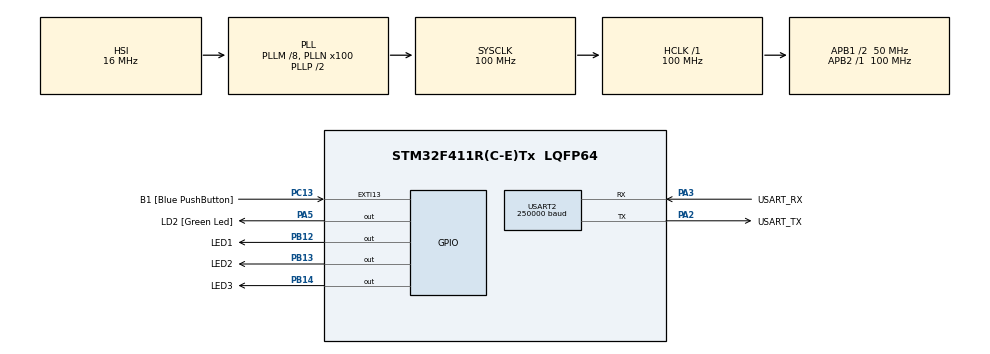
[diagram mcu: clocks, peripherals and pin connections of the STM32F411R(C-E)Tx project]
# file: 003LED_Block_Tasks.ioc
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Mcu.Family=STM32F4
Mcu.Name=STM32F411R(C-E)Tx
Mcu.Package=LQFP64
NVIC.PriorityGroup=NVIC_PRIORITYGROUP_4
NVIC.TIM5_IRQn=true\:0\:0\:false\:false\:true\:false\:true
NVIC.TimeBase=TIM5_IRQn
NVIC.TimeBaseIP=TIM5
PA13.GPIO_Label=TMS
PA13.Signal=SYS_JTMS-SWDIO
PA14.GPIO_Label=TCK
PA14.Signal=SYS_JTCK-SWCLK
PA2.GPIO_Label=USART_TX
PA2.Mode=Asynchronous
PA2.Signal=USART2_TX
PA3.GPIO_Label=USART_RX
PA3.Mode=Asynchronous
PA3.Signal=USART2_RX
PA5.GPIO_Label=LD2 [Green Led]
PA5.Signal=GPIO_Output
PB12.GPIO_Label=LED1
PB12.Signal=GPIO_Output
PB13.GPIO_Label=LED2
PB13.Signal=GPIO_Output
PB14.GPIO_Label=LED3
PB14.Signal=GPIO_Output
PB3.GPIO_Label=SWO
PB3.Signal=SYS_JTDO-SWO
PC13-ANTI_TAMP.GPIO_Label=B1 [Blue PushButton]
PC13-ANTI_TAMP.GPIO_ModeDefaultEXTI=GPIO_MODE_IT_FALLING
PC13-ANTI_TAMP.Signal=GPXTI13
PC14-OSC32_IN.Signal=RCC_OSC32_IN
PC15-OSC32_OUT.Signal=RCC_OSC32_OUT
PH0\ -\ OSC_IN.Signal=RCC_OSC_IN
PH1\ -\ OSC_OUT.Signal=RCC_OSC_OUT
ProjectManager.HeapSize=0x200
ProjectManager.StackSize=0x400
ProjectManager.TargetToolchain=STM32CubeIDE
RCC.48MHZClocksFreq_Value=50000000
RCC.AHBFreq_Value=100000000
RCC.APB1CLKDivider=RCC_HCLK_DIV2
RCC.APB1Freq_Value=50000000
RCC.APB1TimFreq_Value=100000000
RCC.APB2Freq_Value=100000000
RCC.APB2TimFreq_Value=100000000
RCC.CortexFreq_Value=100000000
RCC.FLatency-AdvancedSettings=FLASH_LATENCY_3
RCC.HCLKFreq_Value=100000000
RCC.HSE_VALUE=8000000
RCC.HSI_VALUE=16000000
RCC.LSE_VALUE=32768
RCC.PLLM=8
RCC.PLLN=100
RCC.SYSCLKFreq_VALUE=100000000
RCC.SYSCLKSource=RCC_SYSCLKSOURCE_PLLCLK
RCC.VCOOutputFreq_Value=200000000
USART2.BaudRate=250000
USART2.Parity=PARITY_EVEN
USART2.VirtualMode=VM_ASYNC
VP_SYS_VS_tim5.Mode=TIM5
board=NUCLEO-F411RE

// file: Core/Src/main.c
/* USER CODE BEGIN Header */
/**
  ******************************************************************************
  * @file           : main.c
  * @brief          : Main program body
  ******************************************************************************
  * @attention
  *
  * <h2><center>&copy; Copyright (c) 2022 STMicroelectronics.
  * All rights reserved.</center></h2>
  *
  * This software component is licensed by ST under BSD 3-Clause license,
  * the "License"; You may not use this file except in compliance with the
  * License. You may obtain a copy of the License at:
  *                        opensource.org/licenses/BSD-3-Clause
  *
  ******************************************************************************
  */
/* USER CODE END Header */
#include "main.h"

/* USER CODE BEGIN Includes */
#include "FreeRTOS.h"
#include "task.h"

/* USER CODE END Includes */

UART_HandleTypeDef huart2;

/* USER CODE BEGIN PV */

#define DWT_CTRL	(*(volatile uint32_t*)0xE0001000)

/* USER CODE END PV */

void SystemClock_Config(void);
static void MX_GPIO_Init(void);
static void MX_USART2_UART_Init(void);
/* USER CODE BEGIN PFP */

static void led1_handler(void* parameters);
static void led2_handler(void* parameters);
static void led3_handler(void* parameters);

extern void SEGGER_UART_init(uint32_t);

/* USER CODE END PFP */

int main(void)
{
  /* USER CODE BEGIN 1 */
	TaskHandle_t task1_handle;
	TaskHandle_t task2_handle;
	TaskHandle_t task3_handle;
	BaseType_t status;

  /* USER CODE END 1 */

  /* MCU Configuration--------------------------------------------------------*/

  /* Reset of all peripherals, Initializes the Flash interface and the Systick. */
  HAL_Init();

  /* Configure the system clock */
  SystemClock_Config();

  /* Initialize all configured peripherals */
  MX_GPIO_Init();
  MX_USART2_UART_Init();
  /* USER CODE BEGIN 2 */

  //SEGGER_UART_init(250000);

  //Cycle count enable
    DWT_CTRL |= (1 << 0);

	SEGGER_SYSVIEW_Conf();
	SEGGER_SYSVIEW_Start();

	status = xTaskCreate(led1_handler, "LED_1_task", 200, NULL, 2, &task1_handle);

	configASSERT(status == pdPASS);

	status = xTaskCreate(led2_handler, "LED_2_task", 200, NULL, 2, &task2_handle);

	configASSERT(status == pdPASS);

	status = xTaskCreate(led3_handler, "LED_3_task", 200, NULL, 2, &task3_handle);

	configASSERT(status == pdPASS);

	//start the freeRTOS scheduler
	 vTaskStartScheduler();

  /* USER CODE END 2 */

  /* Infinite loop */
  while (1)
  {

  }
}

void SystemClock_Config(void)
{
  RCC_OscInitTypeDef RCC_OscInitStruct = {0};
  RCC_ClkInitTypeDef RCC_ClkInitStruct = {0};

  /** Configure the main internal regulator output voltage
  */
  __HAL_RCC_PWR_CLK_ENABLE();
  __HAL_PWR_VOLTAGESCALING_CONFIG(PWR_REGULATOR_VOLTAGE_SCALE1);
  /** Initializes the RCC Oscillators according to the specified parameters
  * in the RCC_OscInitTypeDef structure.
  */
  RCC_OscInitStruct.OscillatorType = RCC_OSCILLATORTYPE_HSI;
  RCC_OscInitStruct.HSIState = RCC_HSI_ON;
  RCC_OscInitStruct.HSICalibrationValue = RCC_HSICALIBRATION_DEFAULT;
  RCC_OscInitStruct.PLL.PLLState = RCC_PLL_ON;
  RCC_OscInitStruct.PLL.PLLSource = RCC_PLLSOURCE_HSI;
  RCC_OscInitStruct.PLL.PLLM = 8;
  RCC_OscInitStruct.PLL.PLLN = 100;
  RCC_OscInitStruct.PLL.PLLP = RCC_PLLP_DIV2;
  RCC_OscInitStruct.PLL.PLLQ = 4;
  if (HAL_RCC_OscConfig(&RCC_OscInitStruct) != HAL_OK)
  {
    Error_Handler();
  }
  /** Initializes the CPU, AHB and APB buses clocks
  */
  RCC_ClkInitStruct.ClockType = RCC_CLOCKTYPE_HCLK|RCC_CLOCKTYPE_SYSCLK
                              |RCC_CLOCKTYPE_PCLK1|RCC_CLOCKTYPE_PCLK2;
  RCC_ClkInitStruct.SYSCLKSource = RCC_SYSCLKSOURCE_PLLCLK;
  RCC_ClkInitStruct.AHBCLKDivider = RCC_SYSCLK_DIV1;
  RCC_ClkInitStruct.APB1CLKDivider = RCC_HCLK_DIV2;
  RCC_ClkInitStruct.APB2CLKDivider = RCC_HCLK_DIV1;

  if (HAL_RCC_ClockConfig(&RCC_ClkInitStruct, FLASH_LATENCY_3) != HAL_OK)
  {
    Error_Handler();
  }
}

static void MX_USART2_UART_Init(void)
{

  huart2.Instance = USART2;
  huart2.Init.BaudRate = 250000;
  huart2.Init.WordLength = UART_WORDLENGTH_8B;
  huart2.Init.StopBits = UART_STOPBITS_1;
  huart2.Init.Parity = UART_PARITY_EVEN;
  huart2.Init.Mode = UART_MODE_TX_RX;
  huart2.Init.HwFlowCtl = UART_HWCONTROL_NONE;
  huart2.Init.OverSampling = UART_OVERSAMPLING_16;
  if (HAL_UART_Init(&huart2) != HAL_OK)
  {
    Error_Handler();
  }

}

static void MX_GPIO_Init(void)
{
  GPIO_InitTypeDef GPIO_InitStruct = {0};

  /* GPIO Ports Clock Enable */
  __HAL_RCC_GPIOC_CLK_ENABLE();
  __HAL_RCC_GPIOH_CLK_ENABLE();
  __HAL_RCC_GPIOA_CLK_ENABLE();
  __HAL_RCC_GPIOB_CLK_ENABLE();

  /*Configure GPIO pin Output Level */
  HAL_GPIO_WritePin(LD2_GPIO_Port, LD2_Pin, GPIO_PIN_RESET);

  /*Configure GPIO pin Output Level */
  HAL_GPIO_WritePin(GPIOB, LED1_Pin|LED2_Pin|LED3_Pin, GPIO_PIN_RESET);

  /*Configure GPIO pin : B1_Pin */
  GPIO_InitStruct.Pin = B1_Pin;
  GPIO_InitStruct.Mode = GPIO_MODE_IT_FALLING;
  GPIO_InitStruct.Pull = GPIO_NOPULL;
  HAL_GPIO_Init(B1_GPIO_Port, &GPIO_InitStruct);

  /*Configure GPIO pin : LD2_Pin */
  GPIO_InitStruct.Pin = LD2_Pin;
  GPIO_InitStruct.Mode = GPIO_MODE_OUTPUT_PP;
  GPIO_InitStruct.Pull = GPIO_NOPULL;
  GPIO_InitStruct.Speed = GPIO_SPEED_FREQ_LOW;
  HAL_GPIO_Init(LD2_GPIO_Port, &GPIO_InitStruct);

  /*Configure GPIO pins : LED1_Pin LED2_Pin LED3_Pin */
  GPIO_InitStruct.Pin = LED1_Pin|LED2_Pin|LED3_Pin;
  GPIO_InitStruct.Mode = GPIO_MODE_OUTPUT_PP;
  GPIO_InitStruct.Pull = GPIO_NOPULL;
  GPIO_InitStruct.Speed = GPIO_SPEED_FREQ_LOW;
  HAL_GPIO_Init(GPIOB, &GPIO_InitStruct);

}

/* USER CODE BEGIN 4 */

static void led1_handler(void* parameters)
{
	while(1)
	{
		SEGGER_SYSVIEW_PrintfTarget("Toggling LED1");
		HAL_GPIO_TogglePin(GPIOB, LED1_Pin);
		vTaskDelay(pdMS_TO_TICKS(1000));
	}
}

static void led2_handler(void* parameters)
{
	while(1)
	{
		SEGGER_SYSVIEW_PrintfTarget("Toggling LED2");
		HAL_GPIO_TogglePin(GPIOB, LED2_Pin);
		vTaskDelay(pdMS_TO_TICKS(800));
	}

}

static void led3_handler(void* parameters)
{
	while(1)
	{
		SEGGER_SYSVIEW_PrintfTarget("Toggling LED3");
		HAL_GPIO_TogglePin(GPIOB, LED3_Pin);
		vTaskDelay(pdMS_TO_TICKS(400));
	}

}

void vApplicationIdleHook( void )
{
	HAL_PWR_EnterSLEEPMode(PWR_MAINREGULATOR_ON, PWR_SLEEPENTRY_WFI);
}

/* USER CODE END 4 */

void HAL_TIM_PeriodElapsedCallback(TIM_HandleTypeDef *htim)
{
  if (htim->Instance == TIM5) {
    HAL_IncTick();
  }
}

void Error_Handler(void)
{
}

/************************ (C) COPYRIGHT STMicroelectronics *****END OF FILE****/
